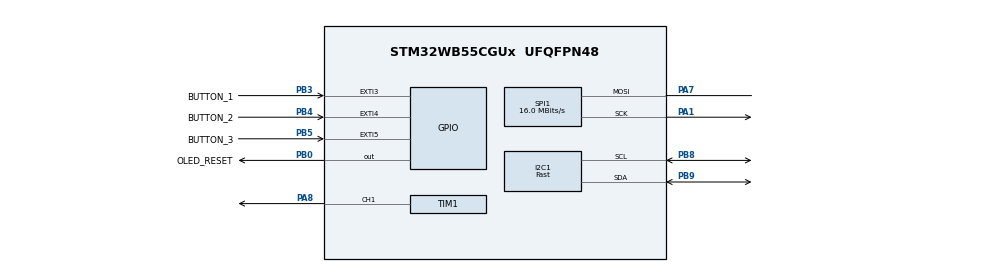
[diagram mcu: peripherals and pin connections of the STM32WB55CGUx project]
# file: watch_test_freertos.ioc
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FREERTOS.Mutexes01=rtcMutex,Dynamic,NULL;screenTextMutex,Dynamic,NULL;ledStateMutex,Dynamic,NULL
FREERTOS.Queues01=bleTXqueue,16,uint16_t,0,Dynamic,NULL,NULL
FREERTOS.Tasks01=screenUpdate,24,512,startScreenUpdate,Default,NULL,Dynamic,NULL,NULL;LEDControl,16,128,startLEDControl,Default,NULL,Dynamic,NULL,NULL;buttonPress,32,128,startButtonPress,Default,NULL,Dynamic,NULL,NULL;vibrateControl,8,128,startVibrateControl,Default,NULL,Dynamic,NULL,NULL;rtcSecondTick,8,128,startRTCTick,Default,NULL,Dynamic,NULL,NULL;bleTX,8,128,startBLETX,Default,NULL,Dynamic,NULL,NULL;bleRX,8,128,startBLERX,Default,NULL,Dynamic,NULL,NULL;LEDTimer,8,128,startLEDTimer,Default,NULL,Dynamic,NULL,NULL;touchRead,32,128,startTouchRead,Default,NULL,Dynamic,NULL,NULL
FREERTOS.configENABLE_BACKWARD_COMPATIBILITY=0
FREERTOS.configGENERATE_RUN_TIME_STATS=1
FREERTOS.configLIBRARY_MAX_SYSCALL_INTERRUPT_PRIORITY=10
FREERTOS.configRECORD_STACK_HIGH_ADDRESS=1
FREERTOS.configTIMER_TASK_STACK_DEPTH=512
FREERTOS.configTOTAL_HEAP_SIZE=10000
FREERTOS.configUSE_STATS_FORMATTING_FUNCTIONS=0
I2C1.I2C_Speed_Mode=I2C_Fast
I2C1.Timing=0x00300F38
Mcu.Family=STM32WB
Mcu.Name=STM32WB55CGUx
Mcu.Package=UFQFPN48
NVIC.EXTI3_IRQn=true\:15\:0\:true\:false\:true\:false\:true\:true
NVIC.EXTI4_IRQn=true\:15\:0\:true\:false\:true\:false\:true\:true
NVIC.EXTI9_5_IRQn=true\:15\:0\:true\:false\:true\:false\:true\:true
NVIC.HSEM_IRQn=true\:0\:0\:false\:false\:true\:false\:false\:true
NVIC.PriorityGroup=NVIC_PRIORITYGROUP_4
NVIC.TIM1_UP_TIM16_IRQn=true\:15\:0\:true\:false\:true\:false\:true\:true
NVIC.TIM2_IRQn=true\:0\:0\:false\:false\:true\:false\:false\:true
NVIC.TimeBase=TIM2_IRQn
NVIC.TimeBaseIP=TIM2
OSC_IN.Mode=HSE-External-Oscillator
OSC_IN.Signal=RCC_OSC_IN
OSC_OUT.Mode=HSE-External-Oscillator
OSC_OUT.Signal=RCC_OSC_OUT
PA1.Mode=Simplex_Bidirectional_Master
PA1.Signal=SPI1_SCK
PA7.Mode=Simplex_Bidirectional_Master
PA7.Signal=SPI1_MOSI
PA8.Signal=S_TIM1_CH1
PB0.GPIO_Label=OLED_RESET
PB0.Signal=GPIO_Output
PB3.GPIO_Label=BUTTON_1
PB3.GPIO_ModeDefaultEXTI=GPIO_MODE_IT_RISING_FALLING
PB3.GPIO_PuPd=GPIO_PULLUP
PB3.Signal=GPXTI3
PB4.GPIO_Label=BUTTON_2
PB4.GPIO_ModeDefaultEXTI=GPIO_MODE_IT_RISING_FALLING
PB4.GPIO_PuPd=GPIO_PULLUP
PB4.Signal=GPXTI4
PB5.GPIO_Label=BUTTON_3
PB5.GPIO_ModeDefaultEXTI=GPIO_MODE_IT_RISING_FALLING
PB5.GPIO_PuPd=GPIO_PULLUP
PB5.Signal=GPXTI5
PB8.Mode=I2C
PB8.Signal=I2C1_SCL
PB9.Mode=I2C
PB9.Signal=I2C1_SDA
PC14-OSC32_IN.Mode=LSE-External-Oscillator
PC14-OSC32_IN.Signal=RCC_OSC32_IN
PC15-OSC32_OUT.Mode=LSE-External-Oscillator
PC15-OSC32_OUT.Signal=RCC_OSC32_OUT
ProjectManager.HeapSize=0x200
ProjectManager.StackSize=0x400
ProjectManager.TargetToolchain=STM32CubeIDE
RCC.ADCFreq_Value=128000000
RCC.AHBFreq_Value=32000000
RCC.APB1Freq_Value=32000000
RCC.APB1TimFreq_Value=32000000
RCC.APB2Freq_Value=32000000
RCC.APB2TimFreq_Value=32000000
RCC.APB3Freq_Value=16000000
RCC.CortexFreq_Value=32000000
RCC.HCLKFreq_Value=32000000
RCC.HSE_VALUE=32000000
RCC.HSI48_VALUE=48000000
RCC.HSI_VALUE=16000000
RCC.MSIClockRange=RCC_MSIRANGE_10
RCC.SMPSCLockSelectionVirtual=RCC_SMPSCLKSOURCE_HSI
RCC.SMPSCLockSelectionVirtualVirtual=RCC_SMPSCLKSOURCE_HSI
RCC.SMPSCLockSelectionVirtualVirtualString=RCC_SMPSCLKSOURCE_HSI
RCC.SYSCLKFreq_VALUE=32000000
RCC.USBFreq_Value=128000000
RCC.VCOOutputFreq_Value=256000000
RF1.Mode=RF1_Activate
RF1.Signal=RF_RF1
SH.S_TIM1_CH1.0=TIM1_CH1,PWM Generation1 CH1
SPI1.BaudRatePrescaler=SPI_BAUDRATEPRESCALER_2
SPI1.CalculateBaudRate=16.0 MBits/s
SPI1.DataSize=SPI_DATASIZE_8BIT
SPI1.Direction=SPI_DIRECTION_1LINE
SPI1.Mode=SPI_MODE_MASTER
SPI1.VirtualType=VM_MASTER
TIM1.Channel-PWM\ Generation1\ CH1=TIM_CHANNEL_1
TIM1.ClockDivision=TIM_CLOCKDIVISION_DIV1
TIM1.OCFastMode_PWM-PWM\ Generation1\ CH1=TIM_OCFAST_ENABLE
TIM1.Period=100
TIM1.Pulse-PWM\ Generation1\ CH1=100
VP_FREERTOS_VS_CMSIS_V2.Mode=CMSIS_V2
VP_HSEM_VS_HSEM.Mode=HSEM_Activate
VP_RTC_VS_RTC_Activate.Mode=RTC_Enabled
VP_RTC_VS_RTC_Calendar.Mode=RTC_Calendar
VP_SYS_VS_tim2.Mode=TIM2
VP_TIM1_VS_ClockSourceINT.Mode=Internal
board=custom

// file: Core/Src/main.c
/* USER CODE BEGIN Header */
/**
  ******************************************************************************
  * @file           : main.c
  * @brief          : Main program body
  ******************************************************************************
  * @attention
  *
  * <h2><center>&copy; Copyright (c) 2020 STMicroelectronics.
  * All rights reserved.</center></h2>
  *
  * This software component is licensed by ST under Ultimate Liberty license
  * SLA0044, the "License"; You may not use this file except in compliance with
  * the License. You may obtain a copy of the License at:
  *                             www.st.com/SLA0044
  *
  ******************************************************************************
  */
/* USER CODE END Header */
#include "main.h"
#include "cmsis_os.h"

/* USER CODE BEGIN Includes */
#include "er_oled.h"
#include "dotstar.h"
#include "iqs263.h"

#define NUM_PIXELS 12
/* USER CODE END Includes */

I2C_HandleTypeDef hi2c1;

RTC_HandleTypeDef hrtc;

SPI_HandleTypeDef hspi1;

TIM_HandleTypeDef htim1;

/* Definitions for screenUpdate */
osThreadId_t screenUpdateHandle;
const osThreadAttr_t screenUpdate_attributes = {
  .name = "screenUpdate",
  .priority = (osPriority_t) osPriorityNormal,
  .stack_size = 512 * 4
};
/* Definitions for LEDControl */
osThreadId_t LEDControlHandle;
const osThreadAttr_t LEDControl_attributes = {
  .name = "LEDControl",
  .priority = (osPriority_t) osPriorityBelowNormal,
  .stack_size = 128 * 4
};
/* Definitions for buttonPress */
osThreadId_t buttonPressHandle;
const osThreadAttr_t buttonPress_attributes = {
  .name = "buttonPress",
  .priority = (osPriority_t) osPriorityAboveNormal,
  .stack_size = 128 * 4
};
/* Definitions for vibrateControl */
osThreadId_t vibrateControlHandle;
const osThreadAttr_t vibrateControl_attributes = {
  .name = "vibrateControl",
  .priority = (osPriority_t) osPriorityLow,
  .stack_size = 128 * 4
};
/* Definitions for rtcSecondTick */
osThreadId_t rtcSecondTickHandle;
const osThreadAttr_t rtcSecondTick_attributes = {
  .name = "rtcSecondTick",
  .priority = (osPriority_t) osPriorityLow,
  .stack_size = 128 * 4
};
/* Definitions for bleTX */
osThreadId_t bleTXHandle;
const osThreadAttr_t bleTX_attributes = {
  .name = "bleTX",
  .priority = (osPriority_t) osPriorityLow,
  .stack_size = 128 * 4
};
/* Definitions for bleRX */
osThreadId_t bleRXHandle;
const osThreadAttr_t bleRX_attributes = {
  .name = "bleRX",
  .priority = (osPriority_t) osPriorityLow,
  .stack_size = 128 * 4
};
/* Definitions for LEDTimer */
osThreadId_t LEDTimerHandle;
const osThreadAttr_t LEDTimer_attributes = {
  .name = "LEDTimer",
  .priority = (osPriority_t) osPriorityLow,
  .stack_size = 128 * 4
};
/* Definitions for touchRead */
osThreadId_t touchReadHandle;
const osThreadAttr_t touchRead_attributes = {
  .name = "touchRead",
  .priority = (osPriority_t) osPriorityAboveNormal,
  .stack_size = 128 * 4
};
/* Definitions for bleTXqueue */
osMessageQueueId_t bleTXqueueHandle;
const osMessageQueueAttr_t bleTXqueue_attributes = {
  .name = "bleTXqueue"
};
/* Definitions for rtcMutex */
osMutexId_t rtcMutexHandle;
const osMutexAttr_t rtcMutex_attributes = {
  .name = "rtcMutex"
};
/* Definitions for screenTextMutex */
osMutexId_t screenTextMutexHandle;
const osMutexAttr_t screenTextMutex_attributes = {
  .name = "screenTextMutex"
};
/* Definitions for ledStateMutex */
osMutexId_t ledStateMutexHandle;
const osMutexAttr_t ledStateMutex_attributes = {
  .name = "ledStateMutex"
};
/* USER CODE BEGIN PV */

typedef enum {
	LED_NONE,
	LED_OFF,
	LED_TIME,
	LED_TOUCH_TRACK,
	LED_CONFIRM_FLASH,
	LED_SPIRAL,
	LED_OTHER
} LedStatus_t;

typedef struct {
	LedStatus_t currentMode;
	LedStatus_t nextMode;
	TickType_t modeTimeout;
} LedState_t;

LedState_t LedState;
//protected by ledStateMutex

typedef enum {
	SCREEN_OFF,
	SCREEN_TIME,
	SCREEN_TOUCH_TRACK,
	SCREEN_TEXT,
	SCREEN_IMAGE
} ScreenStatus_t;

typedef struct {
	char screenText[128];
	uint8_t screenImage;
	uint8_t len;
} ScreenState_t;

ScreenState_t ScreenState;
//protected by screenTextMutex

/* USER CODE END PV */

void SystemClock_Config(void);
static void MX_GPIO_Init(void);
static void MX_I2C1_Init(void);
static void MX_SPI1_Init(void);
static void MX_RF_Init(void);
static void MX_RTC_Init(void);
static void MX_TIM1_Init(void);
void startScreenUpdate(void *argument);
void startLEDControl(void *argument);
void startButtonPress(void *argument);
void startVibrateControl(void *argument);
void startRTCTick(void *argument);
void startBLETX(void *argument);
void startBLERX(void *argument);
void startLEDTimer(void *argument);
void startTouchRead(void *argument);

int main(void)
{

  /* MCU Configuration--------------------------------------------------------*/

  /* Reset of all peripherals, Initializes the Flash interface and the Systick. */
  HAL_Init();

  /* Configure the system clock */
  SystemClock_Config();

  /* Initialize all configured peripherals */
  MX_GPIO_Init();
  MX_I2C1_Init();
  MX_SPI1_Init();
  MX_RF_Init();
  MX_RTC_Init();
  MX_TIM1_Init();

  /* Init scheduler */
  osKernelInitialize();
  /* Create the mutex(es) */
  /* creation of rtcMutex */
  rtcMutexHandle = osMutexNew(&rtcMutex_attributes);

  /* creation of screenTextMutex */
  screenTextMutexHandle = osMutexNew(&screenTextMutex_attributes);

  /* creation of ledStateMutex */
  ledStateMutexHandle = osMutexNew(&ledStateMutex_attributes);

  /* Create the queue(s) */
  /* creation of bleTXqueue */
  bleTXqueueHandle = osMessageQueueNew (16, sizeof(uint16_t), &bleTXqueue_attributes);

  /* Create the thread(s) */
  /* creation of screenUpdate */
  screenUpdateHandle = osThreadNew(startScreenUpdate, NULL, &screenUpdate_attributes);

  /* creation of LEDControl */
  LEDControlHandle = osThreadNew(startLEDControl, NULL, &LEDControl_attributes);

  /* creation of buttonPress */
  buttonPressHandle = osThreadNew(startButtonPress, NULL, &buttonPress_attributes);

  /* creation of vibrateControl */
  vibrateControlHandle = osThreadNew(startVibrateControl, NULL, &vibrateControl_attributes);

  /* creation of rtcSecondTick */
  rtcSecondTickHandle = osThreadNew(startRTCTick, NULL, &rtcSecondTick_attributes);

  /* creation of bleTX */
  bleTXHandle = osThreadNew(startBLETX, NULL, &bleTX_attributes);

  /* creation of bleRX */
  bleRXHandle = osThreadNew(startBLERX, NULL, &bleRX_attributes);

  /* creation of LEDTimer */
  LEDTimerHandle = osThreadNew(startLEDTimer, NULL, &LEDTimer_attributes);

  /* creation of touchRead */
  touchReadHandle = osThreadNew(startTouchRead, NULL, &touchRead_attributes);

  /* Start scheduler */
  osKernelStart();

  /* We should never get here as control is now taken by the scheduler */
  /* Infinite loop */
  while (1)
  {

  }
}

void SystemClock_Config(void)
{
  RCC_OscInitTypeDef RCC_OscInitStruct = {0};
  RCC_ClkInitTypeDef RCC_ClkInitStruct = {0};
  RCC_PeriphCLKInitTypeDef PeriphClkInitStruct = {0};

  /** Configure the main internal regulator output voltage
  */
  __HAL_PWR_VOLTAGESCALING_CONFIG(PWR_REGULATOR_VOLTAGE_SCALE1);
  /** Initializes the RCC Oscillators according to the specified parameters
  * in the RCC_OscInitTypeDef structure.
  */
  RCC_OscInitStruct.OscillatorType = RCC_OSCILLATORTYPE_HSI|RCC_OSCILLATORTYPE_LSI1
                              |RCC_OSCILLATORTYPE_HSE|RCC_OSCILLATORTYPE_MSI;
  RCC_OscInitStruct.HSEState = RCC_HSE_ON;
  RCC_OscInitStruct.HSIState = RCC_HSI_ON;
  RCC_OscInitStruct.MSIState = RCC_MSI_ON;
  RCC_OscInitStruct.HSICalibrationValue = RCC_HSICALIBRATION_DEFAULT;
  RCC_OscInitStruct.MSICalibrationValue = RCC_MSICALIBRATION_DEFAULT;
  RCC_OscInitStruct.MSIClockRange = RCC_MSIRANGE_10;
  RCC_OscInitStruct.LSIState = RCC_LSI_ON;
  RCC_OscInitStruct.PLL.PLLState = RCC_PLL_NONE;
  if (HAL_RCC_OscConfig(&RCC_OscInitStruct) != HAL_OK)
  {
    Error_Handler();
  }
  /** Configure the SYSCLKSource, HCLK, PCLK1 and PCLK2 clocks dividers
  */
  RCC_ClkInitStruct.ClockType = RCC_CLOCKTYPE_HCLK4|RCC_CLOCKTYPE_HCLK2
                              |RCC_CLOCKTYPE_HCLK|RCC_CLOCKTYPE_SYSCLK
                              |RCC_CLOCKTYPE_PCLK1|RCC_CLOCKTYPE_PCLK2;
  RCC_ClkInitStruct.SYSCLKSource = RCC_SYSCLKSOURCE_MSI;
  RCC_ClkInitStruct.AHBCLKDivider = RCC_SYSCLK_DIV1;
  RCC_ClkInitStruct.APB1CLKDivider = RCC_HCLK_DIV1;
  RCC_ClkInitStruct.APB2CLKDivider = RCC_HCLK_DIV1;
  RCC_ClkInitStruct.AHBCLK2Divider = RCC_SYSCLK_DIV1;
  RCC_ClkInitStruct.AHBCLK4Divider = RCC_SYSCLK_DIV1;

  if (HAL_RCC_ClockConfig(&RCC_ClkInitStruct, FLASH_LATENCY_1) != HAL_OK)
  {
    Error_Handler();
  }
  /** Initializes the peripherals clocks
  */
  PeriphClkInitStruct.PeriphClockSelection = RCC_PERIPHCLK_SMPS|RCC_PERIPHCLK_RFWAKEUP
                              |RCC_PERIPHCLK_RTC|RCC_PERIPHCLK_I2C1;
  PeriphClkInitStruct.I2c1ClockSelection = RCC_I2C1CLKSOURCE_PCLK1;
  PeriphClkInitStruct.RTCClockSelection = RCC_RTCCLKSOURCE_LSI;
  PeriphClkInitStruct.RFWakeUpClockSelection = RCC_RFWKPCLKSOURCE_HSE_DIV1024;
  PeriphClkInitStruct.SmpsClockSelection = RCC_SMPSCLKSOURCE_HSI;
  PeriphClkInitStruct.SmpsDivSelection = RCC_SMPSCLKDIV_RANGE1;
  if (HAL_RCCEx_PeriphCLKConfig(&PeriphClkInitStruct) != HAL_OK)
  {
    Error_Handler();
  }
  /* USER CODE BEGIN Smps */

  RCC_OscInitTypeDef RCC_OscInitLSE;

  RCC_OscInitLSE.OscillatorType = RCC_OSCILLATORTYPE_LSE;
  RCC_OscInitLSE.LSEState = RCC_LSE_ON;

  if(HAL_RCC_OscConfig(&RCC_OscInitLSE) != HAL_OK){
        Error_Handler();
  }

  /* USER CODE END Smps */
}

static void MX_I2C1_Init(void)
{

  hi2c1.Instance = I2C1;
  hi2c1.Init.Timing = 0x00300F38;
  hi2c1.Init.OwnAddress1 = 0;
  hi2c1.Init.AddressingMode = I2C_ADDRESSINGMODE_7BIT;
  hi2c1.Init.DualAddressMode = I2C_DUALADDRESS_DISABLE;
  hi2c1.Init.OwnAddress2 = 0;
  hi2c1.Init.OwnAddress2Masks = I2C_OA2_NOMASK;
  hi2c1.Init.GeneralCallMode = I2C_GENERALCALL_DISABLE;
  hi2c1.Init.NoStretchMode = I2C_NOSTRETCH_DISABLE;
  if (HAL_I2C_Init(&hi2c1) != HAL_OK)
  {
    Error_Handler();
  }
  /** Configure Analogue filter
  */
  if (HAL_I2CEx_ConfigAnalogFilter(&hi2c1, I2C_ANALOGFILTER_ENABLE) != HAL_OK)
  {
    Error_Handler();
  }
  /** Configure Digital filter
  */
  if (HAL_I2CEx_ConfigDigitalFilter(&hi2c1, 0) != HAL_OK)
  {
    Error_Handler();
  }

}

static void MX_RF_Init(void)
{

}

static void MX_RTC_Init(void)
{

  RTC_TimeTypeDef sTime = {0};
  RTC_DateTypeDef sDate = {0};

  /** Initialize RTC Only
  */
  hrtc.Instance = RTC;
  hrtc.Init.HourFormat = RTC_HOURFORMAT_24;
  hrtc.Init.AsynchPrediv = 127;
  hrtc.Init.SynchPrediv = 255;
  hrtc.Init.OutPut = RTC_OUTPUT_DISABLE;
  hrtc.Init.OutPutPolarity = RTC_OUTPUT_POLARITY_HIGH;
  hrtc.Init.OutPutType = RTC_OUTPUT_TYPE_OPENDRAIN;
  hrtc.Init.OutPutRemap = RTC_OUTPUT_REMAP_NONE;
  if (HAL_RTC_Init(&hrtc) != HAL_OK)
  {
    Error_Handler();
  }

  /** Initialize RTC and set the Time and Date
  */
  sTime.Hours = 0x0;
  sTime.Minutes = 0x0;
  sTime.Seconds = 0x0;
  sTime.SubSeconds = 0x0;
  sTime.DayLightSaving = RTC_DAYLIGHTSAVING_NONE;
  sTime.StoreOperation = RTC_STOREOPERATION_RESET;
  if (HAL_RTC_SetTime(&hrtc, &sTime, RTC_FORMAT_BCD) != HAL_OK)
  {
    Error_Handler();
  }
  sDate.WeekDay = RTC_WEEKDAY_MONDAY;
  sDate.Month = RTC_MONTH_JANUARY;
  sDate.Date = 0x1;
  sDate.Year = 0x0;

  if (HAL_RTC_SetDate(&hrtc, &sDate, RTC_FORMAT_BCD) != HAL_OK)
  {
    Error_Handler();
  }

}

static void MX_SPI1_Init(void)
{

  /* SPI1 parameter configuration*/
  hspi1.Instance = SPI1;
  hspi1.Init.Mode = SPI_MODE_MASTER;
  hspi1.Init.Direction = SPI_DIRECTION_1LINE;
  hspi1.Init.DataSize = SPI_DATASIZE_8BIT;
  hspi1.Init.CLKPolarity = SPI_POLARITY_LOW;
  hspi1.Init.CLKPhase = SPI_PHASE_1EDGE;
  hspi1.Init.NSS = SPI_NSS_SOFT;
  hspi1.Init.BaudRatePrescaler = SPI_BAUDRATEPRESCALER_2;
  hspi1.Init.FirstBit = SPI_FIRSTBIT_MSB;
  hspi1.Init.TIMode = SPI_TIMODE_DISABLE;
  hspi1.Init.CRCCalculation = SPI_CRCCALCULATION_DISABLE;
  hspi1.Init.CRCPolynomial = 7;
  hspi1.Init.CRCLength = SPI_CRC_LENGTH_DATASIZE;
  hspi1.Init.NSSPMode = SPI_NSS_PULSE_ENABLE;
  if (HAL_SPI_Init(&hspi1) != HAL_OK)
  {
    Error_Handler();
  }

}

static void MX_TIM1_Init(void)
{

  TIM_ClockConfigTypeDef sClockSourceConfig = {0};
  TIM_MasterConfigTypeDef sMasterConfig = {0};
  TIM_OC_InitTypeDef sConfigOC = {0};
  TIM_BreakDeadTimeConfigTypeDef sBreakDeadTimeConfig = {0};

  htim1.Instance = TIM1;
  htim1.Init.Prescaler = 0;
  htim1.Init.CounterMode = TIM_COUNTERMODE_UP;
  htim1.Init.Period = 100;
  htim1.Init.ClockDivision = TIM_CLOCKDIVISION_DIV1;
  htim1.Init.RepetitionCounter = 0;
  htim1.Init.AutoReloadPreload = TIM_AUTORELOAD_PRELOAD_DISABLE;
  if (HAL_TIM_Base_Init(&htim1) != HAL_OK)
  {
    Error_Handler();
  }
  sClockSourceConfig.ClockSource = TIM_CLOCKSOURCE_INTERNAL;
  if (HAL_TIM_ConfigClockSource(&htim1, &sClockSourceConfig) != HAL_OK)
  {
    Error_Handler();
  }
  if (HAL_TIM_PWM_Init(&htim1) != HAL_OK)
  {
    Error_Handler();
  }
  sMasterConfig.MasterOutputTrigger = TIM_TRGO_RESET;
  sMasterConfig.MasterOutputTrigger2 = TIM_TRGO2_RESET;
  sMasterConfig.MasterSlaveMode = TIM_MASTERSLAVEMODE_DISABLE;
  if (HAL_TIMEx_MasterConfigSynchronization(&htim1, &sMasterConfig) != HAL_OK)
  {
    Error_Handler();
  }
  sConfigOC.OCMode = TIM_OCMODE_PWM1;
  sConfigOC.Pulse = 100;
  sConfigOC.OCPolarity = TIM_OCPOLARITY_HIGH;
  sConfigOC.OCNPolarity = TIM_OCNPOLARITY_HIGH;
  sConfigOC.OCFastMode = TIM_OCFAST_ENABLE;
  sConfigOC.OCIdleState = TIM_OCIDLESTATE_RESET;
  sConfigOC.OCNIdleState = TIM_OCNIDLESTATE_RESET;
  if (HAL_TIM_PWM_ConfigChannel(&htim1, &sConfigOC, TIM_CHANNEL_1) != HAL_OK)
  {
    Error_Handler();
  }
  sBreakDeadTimeConfig.OffStateRunMode = TIM_OSSR_DISABLE;
  sBreakDeadTimeConfig.OffStateIDLEMode = TIM_OSSI_DISABLE;
  sBreakDeadTimeConfig.LockLevel = TIM_LOCKLEVEL_OFF;
  sBreakDeadTimeConfig.DeadTime = 0;
  sBreakDeadTimeConfig.BreakState = TIM_BREAK_DISABLE;
  sBreakDeadTimeConfig.BreakPolarity = TIM_BREAKPOLARITY_HIGH;
  sBreakDeadTimeConfig.BreakFilter = 0;
  sBreakDeadTimeConfig.BreakAFMode = TIM_BREAK_AFMODE_INPUT;
  sBreakDeadTimeConfig.Break2State = TIM_BREAK2_DISABLE;
  sBreakDeadTimeConfig.Break2Polarity = TIM_BREAK2POLARITY_HIGH;
  sBreakDeadTimeConfig.Break2Filter = 0;
  sBreakDeadTimeConfig.Break2AFMode = TIM_BREAK_AFMODE_INPUT;
  sBreakDeadTimeConfig.AutomaticOutput = TIM_AUTOMATICOUTPUT_DISABLE;
  if (HAL_TIMEx_ConfigBreakDeadTime(&htim1, &sBreakDeadTimeConfig) != HAL_OK)
  {
    Error_Handler();
  }
  HAL_TIM_MspPostInit(&htim1);

}

static void MX_GPIO_Init(void)
{
  GPIO_InitTypeDef GPIO_InitStruct = {0};

  /* GPIO Ports Clock Enable */
  __HAL_RCC_GPIOC_CLK_ENABLE();
  __HAL_RCC_GPIOB_CLK_ENABLE();
  __HAL_RCC_GPIOA_CLK_ENABLE();

  /*Configure GPIO pin Output Level */
  HAL_GPIO_WritePin(OLED_RESET_GPIO_Port, OLED_RESET_Pin, GPIO_PIN_RESET);

  /*Configure GPIO pin : OLED_RESET_Pin */
  GPIO_InitStruct.Pin = OLED_RESET_Pin;
  GPIO_InitStruct.Mode = GPIO_MODE_OUTPUT_PP;
  GPIO_InitStruct.Pull = GPIO_NOPULL;
  GPIO_InitStruct.Speed = GPIO_SPEED_FREQ_LOW;
  HAL_GPIO_Init(OLED_RESET_GPIO_Port, &GPIO_InitStruct);

  /*Configure GPIO pins : BUTTON_1_Pin BUTTON_2_Pin BUTTON_3_Pin */
  GPIO_InitStruct.Pin = BUTTON_1_Pin|BUTTON_2_Pin|BUTTON_3_Pin;
  GPIO_InitStruct.Mode = GPIO_MODE_IT_RISING_FALLING;
  GPIO_InitStruct.Pull = GPIO_PULLUP;
  HAL_GPIO_Init(GPIOB, &GPIO_InitStruct);

  /* EXTI interrupt init*/
  HAL_NVIC_SetPriority(EXTI3_IRQn, 15, 0);
  HAL_NVIC_EnableIRQ(EXTI3_IRQn);

  HAL_NVIC_SetPriority(EXTI4_IRQn, 15, 0);
  HAL_NVIC_EnableIRQ(EXTI4_IRQn);

  HAL_NVIC_SetPriority(EXTI9_5_IRQn, 15, 0);
  HAL_NVIC_EnableIRQ(EXTI9_5_IRQn);

}

/* USER CODE BEGIN 4 */

static inline void set_bit(long *x, int bitNum) {
    *x |= (1L << bitNum);
}

static inline void clear_bit(long *x, int bitNum) {
    *x &= (~(1L << bitNum));
}

void HAL_GPIO_EXTI_Callback(uint16_t GPIO_Pin) {

	BaseType_t xHigherPriorityTaskWoken = pdFALSE;
	xTaskNotifyFromISR(buttonPressHandle, GPIO_Pin, eSetValueWithOverwrite, &xHigherPriorityTaskWoken);
	portYIELD_FROM_ISR(xHigherPriorityTaskWoken);

}

uint64_t get_RTC_full(){ //unverified
    RTC_TimeTypeDef cTime;
    RTC_DateTypeDef cDate;

    osMutexAcquire(rtcMutexHandle, portMAX_DELAY);
    HAL_RTC_GetTime(&hrtc, &cTime, RTC_FORMAT_BCD);
    HAL_RTC_GetDate(&hrtc, &cDate, RTC_FORMAT_BCD);
    osMutexRelease(rtcMutexHandle);

    uint64_t full_rtc_val = (cDate.WeekDay << (8*3)) | (cDate.Month << (8*2)) | (cDate.Date << (8*1)) | cDate.Year;
    full_rtc_val <<= 32;
    full_rtc_val |= (cTime.Hours << (8*3)) | (cTime.Minutes << (8*2)) | (cTime.Seconds << (8*1)) | (cTime.TimeFormat);

    return full_rtc_val;

}

void get_RTC_hrmin(char *dest) {

    RTC_TimeTypeDef cTime;
    RTC_DateTypeDef cDate;

    osMutexAcquire(rtcMutexHandle, portMAX_DELAY);
    HAL_RTC_GetTime(&hrtc, &cTime, RTC_FORMAT_BCD);
    //must get date as well; RTC shadow registers will error if both aren't accessed
    HAL_RTC_GetDate(&hrtc, &cDate, RTC_FORMAT_BCD);
    osMutexRelease(rtcMutexHandle);

    uint8_t  hrs = RTC_Bcd2ToByte(cTime.Hours);
    uint8_t mins = RTC_Bcd2ToByte(cTime.Minutes);

    char time[5];
    sprintf (time, "%02d%02d", hrs, mins);

    strncpy(dest, time, sizeof(time));

}

void get_RTC_hrminsec(char *dest) {

	RTC_TimeTypeDef cTime;
    RTC_DateTypeDef cDate;

	osMutexAcquire(rtcMutexHandle, portMAX_DELAY);
	HAL_RTC_GetTime(&hrtc, &cTime, RTC_FORMAT_BCD);
	//must get date as well; RTC shadow registers will error if both aren't accessed
	HAL_RTC_GetDate(&hrtc, &cDate, RTC_FORMAT_BCD);
	osMutexRelease(rtcMutexHandle);

	uint8_t  hrs = RTC_Bcd2ToByte(cTime.Hours);
	uint8_t mins = RTC_Bcd2ToByte(cTime.Minutes);
	uint8_t secs = RTC_Bcd2ToByte(cTime.Seconds);

	char time[10];
	sprintf (time, "%02d:%02d:%02d", hrs, mins, secs);

	strncpy(dest, time, sizeof(time));

}

/* USER CODE END 4 */

void startScreenUpdate(void *argument)
{
  /* USER CODE BEGIN 5 */
  HAL_GPIO_WritePin(OLED_RESET_GPIO_Port, OLED_RESET_Pin, GPIO_PIN_SET);

  uint8_t oled_buf[WIDTH * HEIGHT / 8];

  er_oled_begin();
  er_oled_clear(oled_buf);
  er_oled_string(6, 14, "DRAMSAY", 12, 1, oled_buf);
  er_oled_display(oled_buf);

  osDelay(3000);
  er_oled_clear(oled_buf);
  er_oled_display(oled_buf);

  ScreenStatus_t screenStatus= SCREEN_TIME;
  char screenText[128];
  char time[10];
  uint8_t imageNum;

  /* Infinite loop */
  for(;;)
  {

	  	//wait for someone to update screen state elsewhere and notify
	  	xTaskNotifyWait(0x00, 0x00, &screenStatus, portMAX_DELAY);
	  	switch(screenStatus){

	  			case SCREEN_TIME:
	  				//test time
	  				//er_oled_time("1743");

	  				//only hrmin
	  				get_RTC_hrmin(time);
	  				er_oled_time(time);

	  				//hrminsec
	  				//get_RTC_hrminsec(time);
	  				//er_oled_clear(oled_buf);
	  				//er_oled_string(0, 14, time, 12, 1, oled_buf);
	  				//er_oled_display(oled_buf);

	  				break;

	  			case SCREEN_TOUCH_TRACK:

	  				break;

	  			case SCREEN_IMAGE:

	  				er_oled_clear(oled_buf);

	  				osMutexAcquire(screenTextMutexHandle, portMAX_DELAY);
	  				imageNum = ScreenState.screenImage;
	  				osMutexRelease(screenTextMutexHandle);

	  				if (imageNum == 1){er_oled_bitmap(0, 0, PIC1, 72, 40, oled_buf);}
	  				else if (imageNum == 2) {er_oled_bitmap(0, 0, PIC2, 72, 40, oled_buf);}
	  				else {er_oled_string(0, 14, "invalid image number", 24, 1, oled_buf);}

	  				er_oled_display(oled_buf);
	  				osDelay(1000);
	  				command(0xa7);//--set Negative display
	  				osDelay(1000);
	  				command(0xa6);//--set normal display
	  				break;

	  			case SCREEN_TEXT:

	  				osMutexAcquire(screenTextMutexHandle, portMAX_DELAY);
	  				strncpy(screenText, ScreenState.screenText, sizeof(ScreenState.screenText));
	  				osMutexRelease(screenTextMutexHandle);
	  				er_oled_clear(oled_buf);
	  				er_oled_string(0, 14, screenText, 12, 1, oled_buf);
	  				er_oled_display(oled_buf);
	  				osDelay(5);
	  				break;

	  			default: //includes SCREEN_OFF
	  				er_oled_clear(oled_buf);
	  				er_oled_display(oled_buf);
	  				break;
	  	}

  }
  /* USER CODE END 5 */
}

void startLEDControl(void *argument)
{
  /* USER CODE BEGIN startLEDControl */

  //To call LED behavior:
    //osMutexAcquire(ledStateMutexHandle, portMAX_DELAY);
   	//LedState.currentMode = LED_CONFIRM_FLASH;
   	//osMutexRelease(ledStateMutexHandle);

  //LedState Init
  osMutexAcquire(ledStateMutexHandle, portMAX_DELAY);
  LedState.currentMode = LED_SPIRAL;
  LedState.nextMode = LED_OFF;
  LedState.modeTimeout = pdMS_TO_TICKS(5000);
  osMutexRelease(ledStateMutexHandle);

  //Dotstar Init
  DotStar_InitHandle dotstar;
  dotstar.spiHandle = &hspi1;
  dotstar.numLEDs = NUM_PIXELS;
  dotstar.colorOrder = DOTSTAR_BGR;
  Dotstar_Init(&dotstar);

  ds_clear();  //turn off
  ds_show();

  const uint8_t STANDARD_BRIGHTNESS = 20; //20, 0-255
  const uint8_t MAX_BRIGHTNESS = 0x33; //max brightness, 0x01-0xFF

  ds_setBrightness(STANDARD_BRIGHTNESS);
  osDelay(1000);

  LedStatus_t currentMode;
  LedStatus_t lastLoopMode = LED_OFF;

  uint16_t counter = 0;
  uint8_t stateVar1 = 0;
  uint8_t stateVar2 = 0;

  uint32_t color = 0x000000;
  /* Infinite loop */
  for(;;)
  {
    //check state, get mode, call timer if necessary

    osMutexAcquire(ledStateMutexHandle, portMAX_DELAY);
	currentMode = LedState.currentMode;
	if (LedState.modeTimeout){
		xTaskNotifyGive(LEDTimerHandle);
	}
	osMutexRelease(ledStateMutexHandle);

	//reset count if we've switched modes
	if (lastLoopMode != currentMode) { counter = 0; stateVar1 = 0; stateVar2 = 0;}

	switch(currentMode){

		case LED_TIME:

			break;
		case LED_TOUCH_TRACK:

			break;
		case LED_CONFIRM_FLASH:

			//each color go from 00 to MAX_BRIGHTNESS to 00 over a second, 1000Hz=sec, ~512 steps, 2ms
			if (lastLoopMode != currentMode) { ds_fill(0xFFFFFF, 0, 12);}
		    ds_setBrightness(stateVar1);
			ds_show();

		    //increment color intensity
		    if (stateVar2) {stateVar1--;}
		    else {stateVar1++;}

		    //if we hit a limit switch color scaling up or down
		    if (stateVar1 == MAX_BRIGHTNESS) {stateVar2 = 1;}
		    if (stateVar1 == 0x00) {stateVar2 = 0;}

			osDelay(pdMS_TO_TICKS(2)); //2ms delay

			if (++counter == (MAX_BRIGHTNESS*4)) { //if we hit 1 cycle here (= MAX_BRIGHTNESS*2,could *4 to set to two full cycles), set state to off
				ds_clear();
				ds_show();
				ds_setBrightness(STANDARD_BRIGHTNESS);

				osMutexAcquire(ledStateMutexHandle, portMAX_DELAY);
				LedState.currentMode = LED_OFF;
				osMutexRelease(ledStateMutexHandle);
			}

			break;

		case LED_SPIRAL:

			//rotate fixed pattern around 12
			//modulo 12
			for (int i=0; i< NUM_PIXELS; i++){

				if (i==(counter+2)%12){ color = 0xFFFFFF; }
				else if (i==(counter+1)%12){ color = 0xD0D0D0; }
				else if (i==counter)       { color = 0xA0A0A0; }
				else { color = 0x000000; }

				ds_setPixelColor32B(i, color); // 'off' pixel at head
			}

			ds_show();
			counter = (counter+1)%12;
			osDelay(pdMS_TO_TICKS(50));

			break;

		default: //case LED_OTHER, LED_OFF, LED_NONE
			if (lastLoopMode != currentMode) {
				ds_clear();
				ds_show();
			}
			osDelay(250);
			break;
	}

	lastLoopMode = currentMode;
  }
  /* USER CODE END startLEDControl */
}

void startButtonPress(void *argument)
{
  /* USER CODE BEGIN startButtonPress */
  /* Infinite loop */

  //Buttons are PULLED UP and drop to 0 when pressed
  uint8_t buttonState[] = {1, 1, 1};
  uint32_t callingPin = 0x00;

  for(;;)
  {
	//wait for rising or falling edge trigger, put calling pin in callingPin
	xTaskNotifyWait(0x00, 0x00, &callingPin, portMAX_DELAY);

	//check state of pin
	GPIO_PinState first_read = HAL_GPIO_ReadPin(GPIOB, callingPin);

	//wait 50ms
    osDelay(50);

    //check again (debounce) to get a good reading
	if (first_read == HAL_GPIO_ReadPin(GPIOB, callingPin)){

		//check that we are actually changing state; the edge trigger should only call
		//when this happens (except during debouncing) so we expect this to be true
		//almost always

		//callingPin can be used as bitmask Pin 5/4/3 give 1000000/10000/1000

		if (callingPin == 0b1000 && first_read != buttonState[0]) { //button 1 trigger
		  //set buttonState
		  buttonState[0] = first_read;

		  //do stuff if button pressed
		  if (!first_read){
		       	osDelay(100);
		  }

		  		    //send BLE queue indicator; button 1 = 0x0
		  		    uint16_t bleval = 0x0000 | ((!first_read) << 8);
		  		    osMessageQueuePut(bleTXqueueHandle, &bleval, 0, 0);
		}
		if (callingPin == 0b10000 && first_read != buttonState[1]) { //button 2 trigger
		    //set buttonState
		    buttonState[1] = first_read;

		    //do stuff if button pressed
		    if (!first_read){
		       	osDelay(100);
		    }

		    //send BLE queue indicator; button 2 = 0x1
		    uint16_t bleval = 0x1000 | ((!first_read) << 8);
		    osMessageQueuePut(bleTXqueueHandle, &bleval, 0, 0);
		}
		if (callingPin == 0b100000 && first_read != buttonState[2]) { //button 3 trigger
		    //set buttonState
		    buttonState[2] = first_read;

		    //do stuff if button pressed
		    if (!first_read){
		    	osDelay(100);
		    }

		    //send BLE queue indicator; button 3 = 0x2
		    uint16_t bleval = 0x2000 | ((!first_read) << 8);
		    osMessageQueuePut(bleTXqueueHandle, &bleval, 0, 0);
		}

	}

  }
  /* USER CODE END startButtonPress */
}

void startVibrateControl(void *argument)
{
  /* USER CODE BEGIN startVibrateControl */

  //HAL_GPIO_WritePin(VIBRATION_GPIO_Port, VIBRATION_Pin, GPIO_PIN_RESET);

  //Init Vibration Motor PWM Parameters
  int duty_cycle = 79; //0 is off, up to ~80
  htim1.Instance->CCR2 = duty_cycle;

  /* Infinite loop */
  for(;;)
  {
	HAL_TIM_PWM_Start(&htim1, TIM_CHANNEL_1);

    osDelay(2000);

    HAL_TIM_PWM_Stop(&htim1, TIM_CHANNEL_1);

    osDelay(2000);

  }
  /* USER CODE END startVibrateControl */
}

void startRTCTick(void *argument)
{
  /* USER CODE BEGIN startRTCTick */

	RTC_TimeTypeDef sTime = {0};
    sTime.Hours      = 0x15;
    sTime.Minutes    = 0x41;
    sTime.Seconds    = 0x57;
    sTime.SubSeconds = 0x0;
    sTime.DayLightSaving = RTC_DAYLIGHTSAVING_NONE;
   	sTime.StoreOperation = RTC_STOREOPERATION_RESET;

   	osMutexAcquire(rtcMutexHandle, portMAX_DELAY);
	if (HAL_RTC_SetTime(&hrtc, &sTime, RTC_FORMAT_BCD) != HAL_OK) {
	    Error_Handler();
	}
	osMutexRelease(rtcMutexHandle);

  /* Infinite loop */
  for(;;)
  {
    osDelay(6000);

    osMutexAcquire(ledStateMutexHandle, portMAX_DELAY);
    LedState.currentMode = LED_SPIRAL;
    osMutexRelease(ledStateMutexHandle);

    osDelay(3000);

    ScreenStatus_t newScreen = SCREEN_TIME;
    xTaskNotify(screenUpdateHandle, (uint32_t)newScreen, eSetValueWithOverwrite);

    osDelay(3000);

    osMutexAcquire(ledStateMutexHandle, portMAX_DELAY);
    LedState.currentMode = LED_CONFIRM_FLASH;
    osMutexRelease(ledStateMutexHandle);

    osDelay(1000);

    osMutexAcquire(ledStateMutexHandle, portMAX_DELAY);
    LedState.currentMode = LED_SPIRAL;
    osMutexRelease(ledStateMutexHandle);

    osDelay(3000);

    newScreen = SCREEN_TEXT;
	osMutexAcquire(screenTextMutexHandle, portMAX_DELAY);
	strncpy(ScreenState.screenText, "arbitrary", sizeof("arbitrary"));
	osMutexRelease(screenTextMutexHandle);
    xTaskNotify(screenUpdateHandle, (uint32_t)newScreen, eSetValueWithOverwrite);

    osDelay(3000);

    /*
    //set rtc
    RTC_TimeTypeDef sTime = {0};
    sTime.Hours      = 0x15;
    sTime.Minutes    = 0x41;
    sTime.Seconds    = 0x57;
    sTime.SubSeconds = 0x0;
    sTime.DayLightSaving = RTC_DAYLIGHTSAVING_NONE;
   	sTime.StoreOperation = RTC_STOREOPERATION_RESET;

   	osMutexAcquire(rtcMutexHandle, portMAX_DELAY);
    if (HAL_RTC_SetTime(&hrtc, &sTime, RTC_FORMAT_BCD) != HAL_OK) {
        Error_Handler();
    }
    osMutexRelease(rtcMutexHandle);
	*/

    newScreen = SCREEN_TIME;
    xTaskNotify(screenUpdateHandle, (uint32_t)newScreen, eSetValueWithOverwrite);
    osDelay(1000);
    xTaskNotify(screenUpdateHandle, (uint32_t)newScreen, eSetValueWithOverwrite);
    osDelay(1000);
    xTaskNotify(screenUpdateHandle, (uint32_t)newScreen, eSetValueWithOverwrite);
    osDelay(1000);
    xTaskNotify(screenUpdateHandle, (uint32_t)newScreen, eSetValueWithOverwrite);
    osDelay(1000);

    osDelay(1000);

    newScreen = SCREEN_IMAGE;
   	osMutexAcquire(screenTextMutexHandle, portMAX_DELAY);
   	ScreenState.screenImage = 1;
   	osMutexRelease(screenTextMutexHandle);
    xTaskNotify(screenUpdateHandle, (uint32_t)newScreen, eSetValueWithOverwrite);

    osDelay(3000);

    newScreen = SCREEN_OFF;
    xTaskNotify(screenUpdateHandle, (uint32_t)newScreen, eSetValueWithOverwrite);

  }
  /* USER CODE END startRTCTick */
}

void startBLETX(void *argument)
{
  /* USER CODE BEGIN startBLETX */
  /* Infinite loop */
  for(;;)
  {
    osDelay(2000);

  }
  /* USER CODE END startBLETX */
}

void startBLERX(void *argument)
{
  for(;;)
  {
    osDelay(1);
  }
}

void startLEDTimer(void *argument)
{
  /* USER CODE BEGIN startLEDTimer */

  //this gets called if the timer value in the struct is
  //set to something other than 0 (which should occur using
  //the ledSateMutexHandle to make it atomic).  It will
  //change the currentState to nextState after the timeout
  //in ms IF no state updates have occurred during the waiting
  //period.  Changing current or next state will cause the
  //this timer to stop working.

  //Updating the timeout value when another timeout is active
  //has poorly defined behavior; namely it will wait for the
  //active timeout to finish before it starts counting.

  //This should really be used sparingly to simply call a
  //temporary LED action that should then just fade to
  //another, like a confirm flash followed by off/watch mode.

  LedState_t waitState;

  /* Infinite loop */
  for(;;)
  {
	  //wait until notified
	  ulTaskNotifyTake( pdTRUE, portMAX_DELAY);

	  //pull time of delay before updating LED state
	  osMutexAcquire(ledStateMutexHandle, portMAX_DELAY);
	  waitState = LedState;
	  LedState.modeTimeout = 0;
	  osMutexRelease(ledStateMutexHandle);

	  //delay
	  osDelay(waitState.modeTimeout);

	  //update LED state in LedState
	  osMutexAcquire(ledStateMutexHandle, portMAX_DELAY);
	  //check that state values haven't changed since
	  //started waiting before updating state
	  if (waitState.currentMode == LedState.currentMode && waitState.nextMode == LedState.nextMode) {
		  LedState.currentMode = LedState.nextMode;
		  LedState.nextMode = LED_NONE;
	  }
	  osMutexRelease(ledStateMutexHandle);
  }
  /* USER CODE END startLEDTimer */
}

void startTouchRead(void *argument)
{
  /* USER CODE BEGIN startTouchRead */

  int16_t current_minute = -1;
  uint8_t touch_end_count = 0;
  uint16_t last_minute = -1;
  #define TOUCH_END_TIMEOUT 6

  osDelay(3000); // give screen time to turn on.

  //init peripheral (not turbo mode, poll every 250ms, if touch sample at 40Hz until no touch)
  if (setup_iqs263() == HAL_ERROR) {

	  osMutexAcquire(screenTextMutexHandle, portMAX_DELAY);
	  strncpy(ScreenState.screenText, "touch fail", sizeof("touch fail"));
	  osMutexRelease(screenTextMutexHandle);
	  xTaskNotify(screenUpdateHandle, (uint32_t)SCREEN_TEXT, eSetValueWithOverwrite);

  }

  /* Infinite loop */
  for(;;)
  {
   current_minute = iqs263_get_min_if_pressed(); //returns -1 if no press
   if (current_minute != -1) { //touch!

	   touch_end_count = 1;

	   if (last_minute != current_minute) {
		   //update touch stuff!
		   last_minute = current_minute;
	   	   er_oled_print_2digit(current_minute);
	   }

	   //optional
	   osDelay(25);

	   /*
	   char str[3];
	   sprintf(str, "%d", current_minute);
	   osMutexAcquire(screenTextMutexHandle, portMAX_DELAY);
	   strncpy(ScreenState.screenText, str, sizeof(str));
	   osMutexRelease(screenTextMutexHandle);
	   xTaskNotify(screenUpdateHandle, (uint32_t)SCREEN_TEXT, eSetValueWithOverwrite);
	   */

   } else if (touch_end_count > 0){

	   touch_end_count += 1;//increment touching_end_count

	   if (touch_end_count >= TOUCH_END_TIMEOUT){  //if it hits this value, we're done

		   touch_end_count = 0;

		   //DO THINGS WITH CONFIRMED TOUCH == LAST_MINUTE
		   osMutexAcquire(screenTextMutexHandle, portMAX_DELAY);
		   char out_text[10];
		   sprintf(out_text, "FINAL: %d", last_minute);
		   strncpy(ScreenState.screenText, out_text, sizeof(out_text));
		   osMutexRelease(screenTextMutexHandle);
		   xTaskNotify(screenUpdateHandle, (uint32_t)SCREEN_TEXT, eSetValueWithOverwrite);

		   last_minute = -1;

	   }

	   osDelay(25);

   }else { //no touch, wait for a touch
    osDelay(250);
   }
  }
  /* USER CODE END startTouchRead */
}

void HAL_TIM_PeriodElapsedCallback(TIM_HandleTypeDef *htim)
{
  if (htim->Instance == TIM2) {
    HAL_IncTick();
  }
}

void Error_Handler(void)
{
}

/************************ (C) COPYRIGHT STMicroelectronics *****END OF FILE****/

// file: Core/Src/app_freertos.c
/* USER CODE BEGIN Header */
/**
  ******************************************************************************
  * File Name          : app_freertos.c
  * Description        : Code for freertos applications
  ******************************************************************************
  * @attention
  *
  * <h2><center>&copy; Copyright (c) 2020 STMicroelectronics.
  * All rights reserved.</center></h2>
  *
  * This software component is licensed by ST under Ultimate Liberty license
  * SLA0044, the "License"; You may not use this file except in compliance with
  * the License. You may obtain a copy of the License at:
  *                             www.st.com/SLA0044
  *
  ******************************************************************************
  */
/* USER CODE END Header */

#include "FreeRTOS.h"
#include "task.h"
#include "main.h"

/* Hook prototypes */
void configureTimerForRunTimeStats(void);
unsigned long getRunTimeCounterValue(void);

/* USER CODE BEGIN 1 */
/* Functions needed when configGENERATE_RUN_TIME_STATS is on */
__weak void configureTimerForRunTimeStats(void)
{

}

__weak unsigned long getRunTimeCounterValue(void)
{
return 0;
}
/* USER CODE END 1 */

/************************ (C) COPYRIGHT STMicroelectronics *****END OF FILE****/
